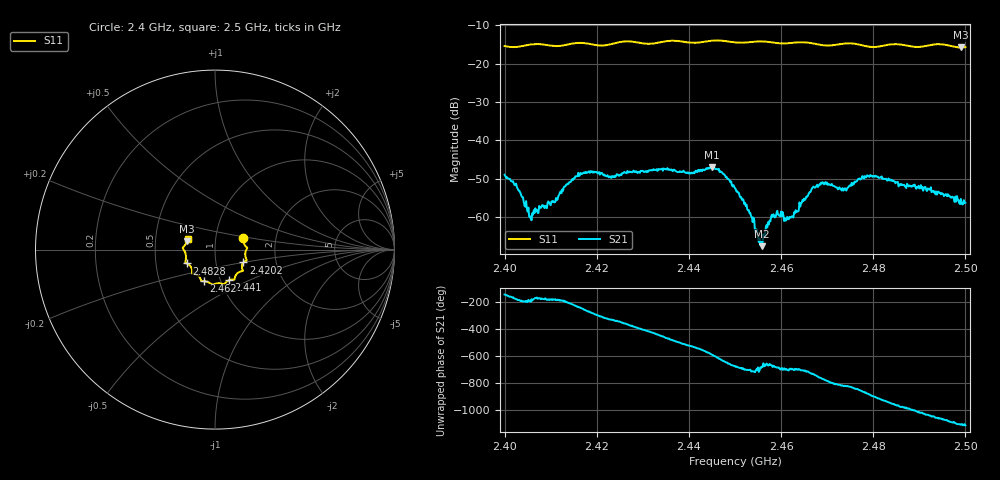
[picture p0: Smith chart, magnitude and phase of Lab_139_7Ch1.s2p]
# Hz S RI R 50
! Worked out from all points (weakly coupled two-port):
!   601 points, 2.4 GHz to 2.5 GHz, reference 50 ohm
!   highest |S21| = -46.95 dB at 2.445 GHz (marker M1); lowest = -67.6 dB at 2.4558 GHz (marker M2)
!   lowest |S11| = -15.8 dB at 2.499 GHz (marker M3), VSWR 1.39, Z = 36.4 + j3.51 ohm
!   |S11| at or under -10 dB: start of sweep to end of sweep
!   S12 and S22 are empty: the file has one direction only
!   S11 on the Smith chart (normalised r, x): 2.4 GHz: 1.36, +0.17; 2.4202 GHz: 1.36, -0.20; 2.441 GHz: 1.10, -0.39; 2.462 GHz: 0.84, -0.30; 2.4828 GHz: 0.72, -0.11; 2.5 GHz: 0.73, +0.09
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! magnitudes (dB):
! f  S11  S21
! 2.4 GHz  -15.4  -49.0
! 2.4028 GHz  -15.6  -52.6
! 2.4058 GHz  -15.0  -60.8
! 2.411 GHz  -15.4  -56.0
! 2.4167 GHz  -14.6  -48.8
! 2.4202 GHz  -15.2  -48.6
! 2.4232 GHz  -14.9  -49.8
! 2.4333 GHz  -14.5  -47.5
! 2.441 GHz  -14.5  -48.3
! 2.445 GHz  -14.0  -47.0
! 2.45 GHz  -14.4  -52.4
! 2.4558 GHz  -14.2  -67.6
! 2.458 GHz  -14.4  -59.4
! 2.462 GHz  -14.6  -60.2
! 2.4667 GHz  -14.6  -52.6
! 2.4692 GHz  -15.2  -51.1
! 2.4737 GHz  -14.7  -52.9
! 2.4792 GHz  -15.6  -49.5
! 2.4828 GHz  -15.1  -50.0
! 2.4833 GHz  -15.0  -49.9
! 2.499 GHz  -15.8  -55.3
! 2.5 GHz  -15.7  -56.3
